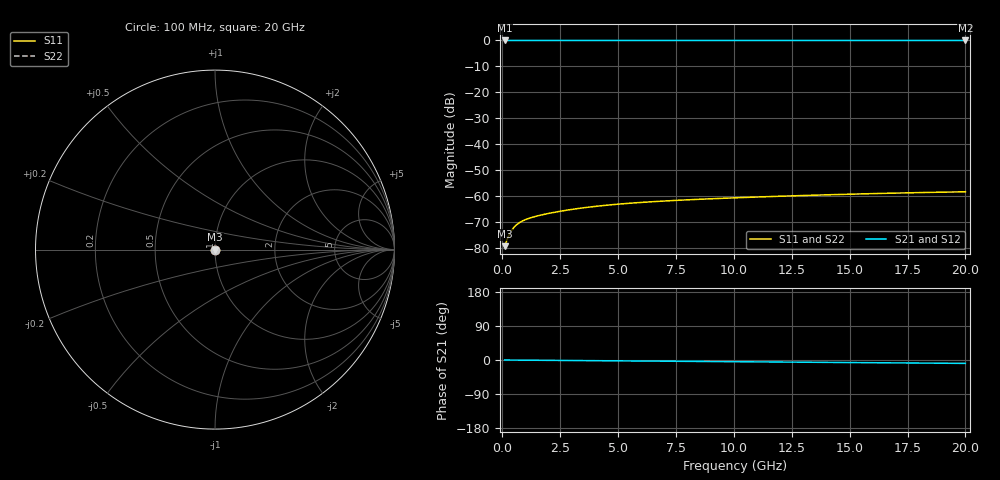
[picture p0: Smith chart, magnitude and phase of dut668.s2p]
! Touchstone file exported from HFSS 2026.1.0
!  File:  C:/ffzhzh/LocalFiles/Ansys_Project_Files/temp_train_TSV_668_1783027054_51716.aedt
!  Generated:  05:19:36 AM Jul  3, 2026
!  Design:  TSV
!  Project:  temp_train_TSV_668_1783027054_51716
! Variables:
!  h_bsmrdl = 2um
!  h_ox = 20um
!  h_rdl = 5um
!  h_sub = 89.79um
!  h_tmrdl = 5um
!  h_tsv = 89.79um
!  h_via = 3um
!  l_bsmrdl = 300um
!  l_sub = 424.82um
!  l_tmrdl = 200um
!  m_sub = 200um
!  pitch = 49.9um
!  r_tsv = 12.41um
!  s_tmrdl = 10um
!  w_bsmrdl = 18um
!  w_sub = 500um
!  w_tmrdl = 12um
!  x_tsv_center1 = 206um
!  x_tsv_center2 = 524um
!  x_tsv_center3 = 736um
!  x_tsv_center4 = 1054um
!  x_tsv_center5 = 1266um
!  x_tsv_center6 = 1584um
# GHz S MA R 50.000000
! Terminal data exported
! Port[1] = TSV1_1_T1
! Port[2] = TSV1_1_T2
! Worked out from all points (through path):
!   200 points, 100 MHz to 20 GHz, reference 50 ohm
!   highest |S21| = 0.00 dB at 100 MHz (marker M1); lowest = 0.0 dB at 20 GHz (marker M2)
!   group delay of S21, straight-line fit = 1.24 ps
!   lowest |S11| = -79.1 dB at 100 MHz (marker M3), VSWR 1.00, Z = 50 + j0.00466 ohm
!   |S11| at or under -10 dB: start of sweep to end of sweep
!   |S22| runs from -79.1 to -58.2 dB; largest |S21 - S12| = 5.6e-15
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0.1  0.0001107 24.9  0.9999 -0.0  0.9999 -0.0  0.0001107 24.9
! Gamma 0 0 0 0
! Port Impedance 50 0 50 0
0.2  0.0001458 37.6  0.9999 -0.1  0.9999 -0.1  0.0001458 37.6
0.3  0.0001849 42.1  0.9999 -0.1  0.9999 -0.1  0.0001849 42.1
0.4  0.0002216 43.1  0.9998 -0.2  0.9998 -0.2  0.0002216 43.1
0.5  0.0002538 42.7  0.9998 -0.2  0.9998 -0.2  0.0002537 42.7
0.6  0.0002814 41.8  0.9998 -0.3  0.9998 -0.3  0.0002813 41.7
0.7  0.0003049 40.7  0.9998 -0.3  0.9998 -0.3  0.0003048 40.7
0.9  0.0003428 38.9  0.9997 -0.4  0.9997 -0.4  0.0003426 38.9
1.1  0.0003727 37.6  0.9997 -0.5  0.9997 -0.5  0.0003725 37.6
1.3  0.000398 36.7  0.9997 -0.6  0.9997 -0.6  0.0003978 36.7
1.9  0.0004621 35.5  0.9996 -0.9  0.9996 -0.9  0.000462 35.5
2.7  0.0005375 34.5  0.9995 -1.2  0.9995 -1.2  0.0005374 34.5
3.5  0.0006052 33.1  0.9995 -1.6  0.9995 -1.6  0.0006052 33.1
4.2  0.0006579 31.6  0.9994 -1.9  0.9994 -1.9  0.0006579 31.6
5  0.0007111 29.8  0.9994 -2.3  0.9994 -2.3  0.000711 29.8
5.8  0.0007576 28.0  0.9993 -2.6  0.9993 -2.6  0.0007576 28.0
6.8  0.0008086 25.9  0.9993 -3.1  0.9993 -3.1  0.0008086 25.9
8.3  0.0008747 22.8  0.9992 -3.7  0.9992 -3.7  0.0008746 22.8
10.1  0.0009441 19.5  0.9991 -4.5  0.9991 -4.5  0.000944 19.5
13.4  0.001057 13.3  0.999 -6.0  0.999 -6.0  0.001056 13.3
16.7  0.001154 6.8  0.9989 -7.5  0.9989 -7.5  0.001154 6.8
20  0.00123 -0.5  0.9988 -8.9  0.9988 -8.9  0.00123 -0.5
